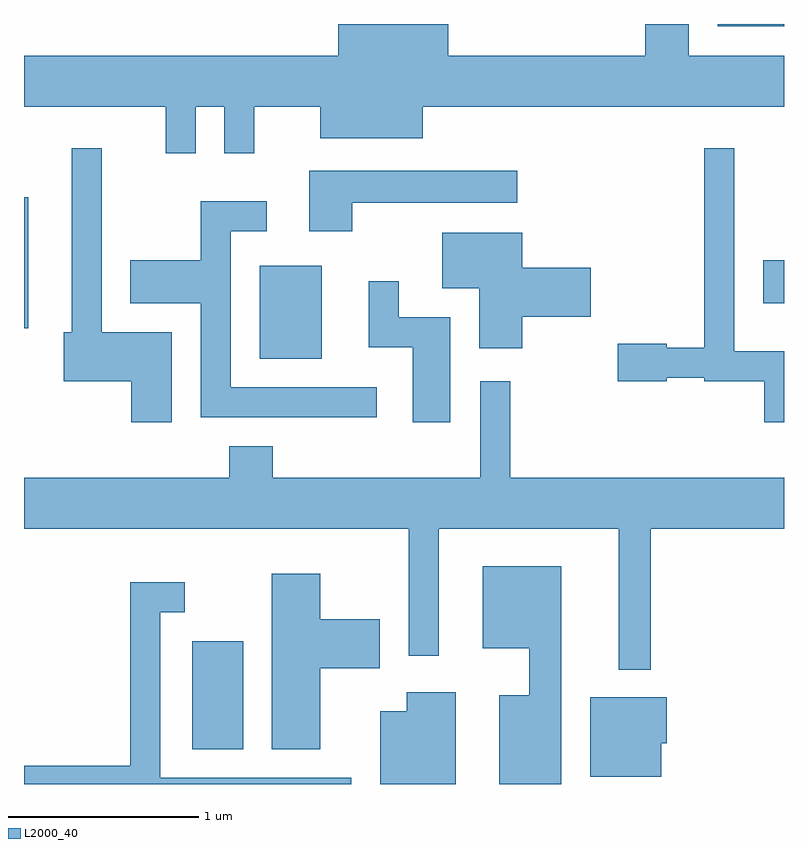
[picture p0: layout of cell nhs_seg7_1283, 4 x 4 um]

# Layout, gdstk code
import gdstk
lib = gdstk.Library(unit=1e-6, precision=1e-09)
def R(c, l, rs):  # rectangles x0, y0, x1, y1
    for r in rs: c.add(gdstk.rectangle(r[:2], r[2:], *l))
def P(c, l, *ps):  # polygons
    for p in ps: c.add(gdstk.Polygon(p, *l))
L2000_40 = (2000, 40)

nhs_seg7_1283 = lib.new_cell('nhs_seg7_1283')
R(nhs_seg7_1283, L2000_40, [(224.496,1766.436,224.764,1767.004), (224.851,1768.491,225.179,1768.979), (223.611,1768.651,223.634,1769.339), (227.501,1768.781,227.611,1769.009), (227.261,1770.241,227.611,1770.252)])
P(nhs_seg7_1283, L2000_40, [(224.514,1769.816),(224.666,1769.816),(224.666,1769.573),(224.824,1769.573),(224.824,1769.816),(225.171,1769.816),(225.171,1769.651),(225.709,1769.651),(225.709,1769.816),(227.611,1769.816),(227.611,1770.084),(227.109,1770.084),(227.109,1770.252),(226.881,1770.252),(226.881,1770.084),(225.844,1770.084),(225.844,1770.252),(225.266,1770.252),(225.266,1770.084),(223.611,1770.084),(223.611,1769.816),(224.356,1769.816),(224.356,1769.573),(224.514,1769.573)],
  [(227.611,1768.529),(227.349,1768.529),(227.349,1769.598),(227.191,1769.598),(227.191,1768.549),(226.994,1768.549),(226.994,1768.569),(226.736,1768.569),(226.736,1768.371),(226.994,1768.371),(226.994,1768.391),(227.191,1768.391),(227.191,1768.371),(227.506,1768.371),(227.506,1768.156),(227.611,1768.156)],
  [(224.389,1768.629),(224.019,1768.629),(224.019,1769.598),(223.861,1769.598),(223.861,1768.629),(223.821,1768.629),(223.821,1768.371),(224.176,1768.371),(224.176,1768.156),(224.389,1768.156)],
  [(225.339,1769.311),(226.208,1769.311),(226.208,1769.479),(225.111,1769.479),(225.111,1769.161),(225.339,1769.161)],
  [(225.468,1768.339),(224.699,1768.339),(224.699,1769.161),(224.888,1769.161),(224.888,1769.319),(224.541,1769.319),(224.541,1769.009),(224.171,1769.009),(224.171,1768.781),(224.541,1768.781),(224.541,1768.181),(225.468,1768.181)],
  [(226.234,1768.711),(226.594,1768.711),(226.594,1768.969),(226.234,1768.969),(226.234,1769.154),(225.811,1769.154),(225.811,1768.861),(226.006,1768.861),(226.006,1768.546),(226.234,1768.546)],
  [(225.854,1768.709),(225.584,1768.709),(225.584,1768.898),(225.426,1768.898),(225.426,1768.551),(225.656,1768.551),(225.656,1768.156),(225.854,1768.156)],
  [(226.909,1767.596),(227.611,1767.596),(227.611,1767.864),(226.169,1767.864),(226.169,1768.373),(226.011,1768.373),(226.011,1767.864),(224.919,1767.864),(224.919,1768.029),(224.691,1768.029),(224.691,1767.864),(223.611,1767.864),(223.611,1767.596),(225.636,1767.596),(225.636,1766.928),(225.794,1766.928),(225.794,1767.596),(226.741,1767.596),(226.741,1766.853),(226.909,1766.853)],
  [(226.439,1767.399),(226.026,1767.399),(226.026,1766.966),(226.271,1766.966),(226.271,1766.719),(226.111,1766.719),(226.111,1766.252),(226.439,1766.252)],
  [(225.169,1766.861),(225.484,1766.861),(225.484,1767.119),(225.169,1767.119),(225.169,1767.359),(224.916,1767.359),(224.916,1766.436),(225.169,1766.436)],
  [(225.334,1766.284),(224.329,1766.284),(224.329,1767.156),(224.458,1767.156),(224.458,1767.314),(224.171,1767.314),(224.171,1766.349),(223.611,1766.349),(223.611,1766.252),(225.334,1766.252)],
  [(225.884,1766.734),(225.626,1766.734),(225.626,1766.634),(225.486,1766.634),(225.486,1766.252),(225.884,1766.252)],
  [(226.964,1766.466),(226.994,1766.466),(226.994,1766.709),(226.591,1766.709),(226.591,1766.291),(226.964,1766.291)])

lib.write_gds('nhs_seg7_1283.gds')
